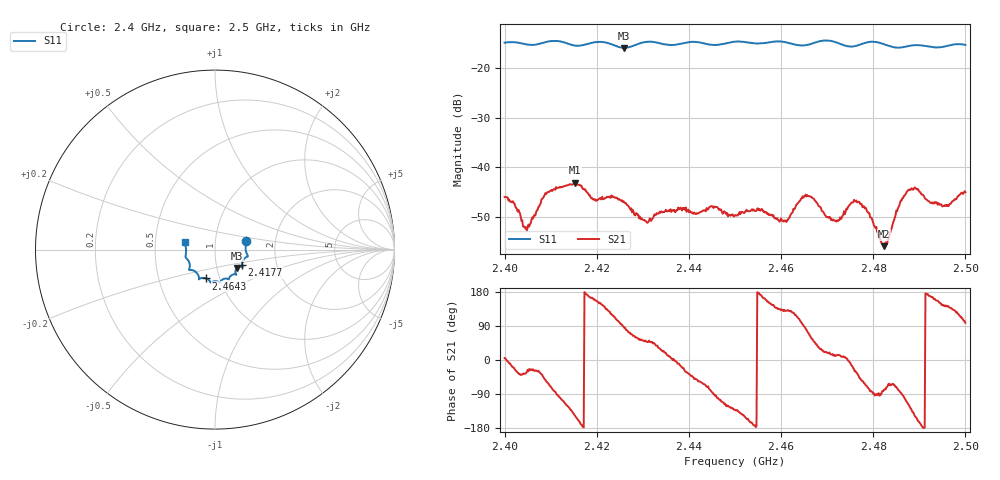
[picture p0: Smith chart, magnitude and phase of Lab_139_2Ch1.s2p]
# Hz S RI R 50
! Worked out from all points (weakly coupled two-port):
!   601 points, 2.4 GHz to 2.5 GHz, reference 50 ohm
!   highest |S21| = -43.07 dB at 2.4153 GHz (marker M1); lowest = -55.8 dB at 2.4823 GHz (marker M2)
!   lowest |S11| = -16.0 dB at 2.4258 GHz (marker M3), VSWR 1.38, Z = 62.4 - j13.1 ohm
!   |S11| at or under -10 dB: start of sweep to end of sweep
!   S12 and S22 are empty: the file has one direction only
!   S11 on the Smith chart (normalised r, x): 2.4 GHz: 1.41, +0.14; 2.4177 GHz: 1.33, -0.23; 2.4643 GHz: 0.86, -0.29; 2.5 GHz: 0.71, +0.06
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2.4e9  0.173 0.0478  0.00501 0.000448  0 0  0 0
2.404833e9  0.1712 0.0176  0.00198 -0.00122  0 0  0 0
2.409e9  0.1801 -0.0296  0.00307 -0.00443  0 0  0 0
2.415333e9  0.1576 -0.0577  -0.00594 -0.00375  0 0  0 0
2.416667e9  0.1519 -0.073  -0.00646 -0.00107  0 0  0 0
2.417667e9  0.1508 -0.0846  -0.00572 0.000595  0 0  0 0
2.425833e9  0.122 -0.1023  0.000182 0.00456  0 0  0 0
2.430667e9  0.1179 -0.1396  0.00189 0.00217  0 0  0 0
2.433333e9  0.1141 -0.1375  0.00289 0.00183  0 0  0 0
2.45e9  0.0277 -0.1818  -0.00223 -0.00244  0 0  0 0
2.455333e9  -0.000334 -0.1762  -0.00378 0.000471  0 0  0 0
2.461e9  -0.0276 -0.1793  -0.00186 0.00225  0 0  0 0
2.464333e9  -0.0491 -0.1609  -0.000862 0.00476  0 0  0 0
2.466667e9  -0.0761 -0.1583  0.0028 0.00415  0 0  0 0
2.472e9  -0.0892 -0.1572  0.00279 0.000596  0 0  0 0
2.476833e9  -0.1249 -0.1149  0.00336 -0.00304  0 0  0 0
2.482333e9  -0.1412 -0.1005  0.000325 -0.00158  0 0  0 0
2.483333e9  -0.1402 -0.0906  0.00087 -0.00168  0 0  0 0
2.4855e9  -0.1458 -0.0659  0.000713 -0.00395  0 0  0 0
2.487833e9  -0.1596 -0.0492  -0.00312 -0.00513  0 0  0 0
2.4955e9  -0.1636 0.0161  -0.00327 0.00258  0 0  0 0
2.5e9  -0.1648 0.0439  -0.000816 0.00556  0 0  0 0
